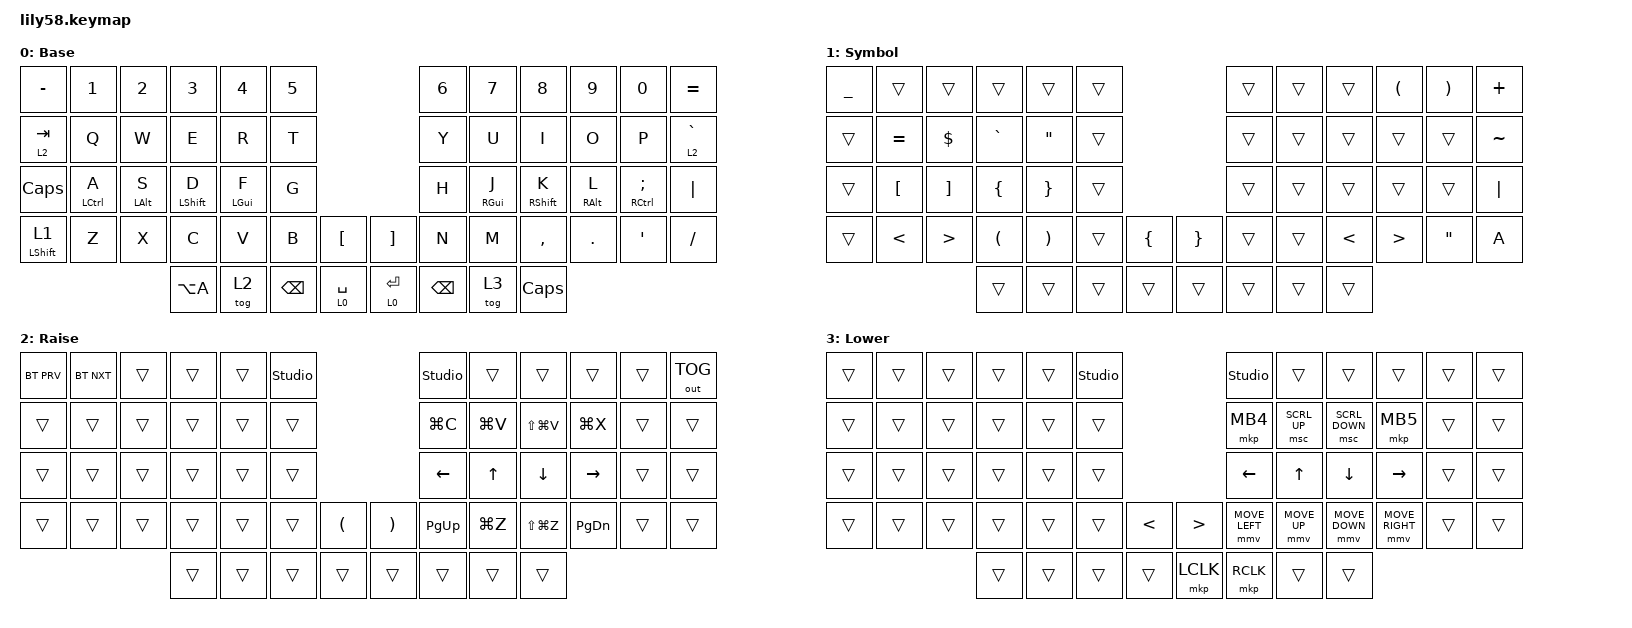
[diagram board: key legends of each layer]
/*
 * Copyright (c) 2020 The ZMK Contributors
 *
 * SPDX-License-Identifier: MIT
 */

#include <behaviors.dtsi>
#include <dt-bindings/zmk/keys.h>
#include <dt-bindings/zmk/bt.h>
#include <dt-bindings/zmk/ext_power.h>
#include <dt-bindings/zmk/outputs.h>
#include <dt-bindings/zmk/pointing.h>

/*
 * Key positions (used by hold-trigger-key-positions):
 *
 *   0   1   2   3   4   5               6   7   8   9  10  11
 *  12  13  14  15  16  17              18  19  20  21  22  23
 *  24  25  26  27  28  29              30  31  32  33  34  35
 *  36  37  38  39  40  41  42      43  44  45  46  47  48  49
 *              50  51  52  53      54  55  56  57
 *
 * Layers: 0 = Base, 1 = Symbol, 2 = Raise, 3 = Lower.
 */

/ {
    behaviors {
        /* Left-hand HRMs: hold triggers on right-hand keys (incl. inner key 43) and all thumbs. */
        hml: hml {
            compatible = "zmk,behavior-hold-tap";
            #binding-cells = <2>;
            flavor = "balanced";
            tapping-term-ms = <280>;
            quick-tap-ms = <175>;
            require-prior-idle-ms = <150>;
            bindings = <&kp>, <&kp>;
            hold-trigger-key-positions = <6 7 8 9 10 11 18 19 20 21 22 23 30 31 32 33 34 35 43 44 45 46 47 48 49 50 51 52 53 54 55 56 57>;
            hold-trigger-on-release;
        };

        /* Right-hand HRMs: hold triggers on left-hand keys (incl. inner key 42) and all thumbs. */
        hmr: hmr {
            compatible = "zmk,behavior-hold-tap";
            #binding-cells = <2>;
            flavor = "balanced";
            tapping-term-ms = <280>;
            quick-tap-ms = <175>;
            require-prior-idle-ms = <150>;
            bindings = <&kp>, <&kp>;
            hold-trigger-key-positions = <0 1 2 3 4 5 12 13 14 15 16 17 24 25 26 27 28 29 36 37 38 39 40 41 42 50 51 52 53 54 55 56 57>;
            hold-trigger-on-release;
        };

        /* Tap: send the key in the second param. Hold: switch to the layer in the first param (&to).
         * Usage: &layerORkp 0 SPACE  (tap = Space, hold = back to Base). */
        layerORkp: layerORkp {
            compatible = "zmk,behavior-hold-tap";
            #binding-cells = <2>;
            flavor = "tap-preferred";
            tapping-term-ms = <280>;
            bindings = <&to>, <&kp>;
        };

        /* Tap: sticky layer (next key only) from the second param. Hold: the modifier in the first param.
         * Usage: &shiftOrSym LSHFT 1  (tap = one key from Symbol, hold = Shift). */
        shiftOrSym: shiftOrSym {
            compatible = "zmk,behavior-hold-tap";
            #binding-cells = <2>;
            flavor = "hold-preferred";
            tapping-term-ms = <200>;
            bindings = <&kp>, <&sl>;
        };
    };

    keymap {
        compatible = "zmk,keymap";

        default_layer {
            display-name = "Base";
// ------------------------------------------------------------------------------------------------------------------------------------------------------------
// |    -     |    1     |    2     |    3     |    4     |    5     |                     |    6     |    7     |    8     |    9     |    0     |    =     |
// | TAB/RAI  |    Q     |    W     |    E     |    R     |    T     |                     |    Y     |    U     |    I     |    O     |    P     |  `/RAI   |
// |   CAPS   |  CTRL/A  |  ALT/S   |  SHFT/D  |  GUI/F   |    G     |                     |    H     |  GUI/J   |  SHFT/K  |  ALT/L   |  CTRL/;  |    |     |
// | SHFT/SYM |    Z     |    X     |    C     |    V     |    B     |    [     |    ]     |    N     |    M     |    ,     |    .     |    "     |    ?     |
//                                  |  LA(A)   | TOG RAI  |   BSPC   | SPC/BASE | RET/BASE |   BSPC   | TOG LOW  |CAPS WORD |
            bindings = <
&kp MINUS            &kp N1               &kp N2               &kp N3               &kp N4               &kp N5                                                         &kp N6               &kp N7               &kp N8               &kp N9               &kp N0               &kp EQUAL
&lt 2 TAB            &kp Q                &kp W                &kp E                &kp R                &kp T                                                          &kp Y                &kp U                &kp I                &kp O                &kp P                &lt 2 GRAVE
&kp CAPS             &hml LCTRL A         &hml LALT S          &hml LSHFT D         &hml LGUI F          &kp G                                                          &kp H                &hmr RGUI J          &hmr RSHFT K         &hmr RALT L          &hmr RCTRL SEMI      &kp PIPE
&shiftOrSym LSHFT 1  &kp Z                &kp X                &kp C                &kp V                &kp B                &kp LBKT             &kp RBKT             &kp N                &kp M                &kp COMMA            &kp DOT              &kp SQT              &kp FSLH
                                                               &kp LA(A)            &tog 2               &kp BSPC             &layerORkp 0 SPACE   &layerORkp 0 RET     &kp BSPC             &tog 3               &kp CAPS
            >;
        };

        symbol_layer {
            display-name = "Symbol";
// ------------------------------------------------------------------------------------------------------------------------------------------------------------
// |          |          |          |          |          |          |                     |          |          |          |          |          |          |
// |          |    =     |    $     |    `     |    "     |          |                     |          |          |          |          |          |          |
// |          |    [     |    ]     |    {     |    }     |          |                     |          |    '     |    /     |    \     |          |          |
// |          |    <     |    >     |    (     |    )     |          |          |          |          |          |          |          |          |          |
//                                  |          |          |          |          |          |          |          |          |
            bindings = <
&kp UNDER               &trans               &trans               &trans               &trans               &trans                                                         &trans               &trans               &trans               &kp LPAR               &kp RPAR               &kp PLUS
&trans               &kp EQUAL            &kp DLLR             &kp GRAVE            &kp DQT              &trans                                                         &trans               &trans               &trans               &trans               &trans               &kp TILDE
&trans               &kp LBKT             &kp RBKT             &kp LBRC             &kp RBRC             &trans                                                         &trans               &trans              &trans             &trans             &trans               &kp PIPE
&trans               &kp LT               &kp GT               &kp LPAR             &kp RPAR             &trans               &kp LBRC               &kp RBRC               &trans               &trans               &kp LT               &kp GT               &kp DQT               &kp A
                                                               &trans               &trans               &trans               &trans               &trans               &trans               &trans               &trans
            >;
        };

        raise_layer {
            display-name = "Raise";
// ------------------------------------------------------------------------------------------------------------------------------------------------------------
// |  BT PRV  |  BT NXT  |          |          |          |  unlock  |                     |  unlock  |          |          |          |          | OUT TOG  |
// |          |          |          |          |          |          |                     |          |          |          |          |          |          |
// |          |          |          |          |          |          |                     |   LEFT   |    UP    |   DOWN   |  RIGHT   |          |          |
// |          |          |          |          |          |          |    (     |    )     |          |          |          |          |          |          |
//                                  | SCRL DN  |          |          |   LCLK   |   RCLK   |          |          | SCRL UP  |
            bindings = <
&bt BT_PRV           &bt BT_NXT           &trans               &trans               &trans               &studio_unlock                                                 &studio_unlock       &trans               &trans               &trans               &trans               &out OUT_TOG
&trans               &trans               &trans               &trans               &trans               &trans                                                         &kp LG(C)               &kp LG(V)               &kp LS(LG(V))               &kp LG(X)               &trans               &trans
&trans               &trans               &trans               &trans               &trans               &trans                                                         &kp LEFT             &kp UP               &kp DOWN             &kp RIGHT            &trans               &trans
&trans               &trans               &trans               &trans               &trans               &trans               &kp LPAR             &kp RPAR             &kp PG_UP               &kp LG(Z)               &kp LS(LG(Z))               &kp PG_DN               &trans               &trans
                                                               &trans       &trans               &trans               &trans            &trans            &trans               &trans               &trans
            >;
        };

        lower_layer {
            display-name = "Lower";
// ------------------------------------------------------------------------------------------------------------------------------------------------------------
// |          |          |          |          |          |  unlock  |                     |  unlock  |          |          |          |          |          |
// |          |          |          |          |          |          |                     |          |          |          |          |          |          |
// |          |          |          |          |          |          |                     |   LEFT   |    UP    |   DOWN   |  RIGHT   |          |          |
// |          |          |          |          |          |          |    <     |    >     |          |          |          |          |          |          |
//                                  |   MB4    |          |          |   LCLK   |   RCLK   |          |          |   MB5    |
            bindings = <
&trans               &trans               &trans               &trans               &trans               &studio_unlock                                                 &studio_unlock       &trans               &trans               &trans               &trans               &trans
&trans               &trans               &trans               &trans               &trans               &trans                                                         &mkp MB4               &msc SCRL_UP               &msc SCRL_DOWN               &mkp MB5               &trans               &trans
&trans               &trans               &trans               &trans               &trans               &trans                                                         &kp LEFT             &kp UP               &kp DOWN             &kp RIGHT            &trans               &trans
&trans               &trans               &trans               &trans               &trans               &trans               &kp LT               &kp GT               &mmv MOVE_LEFT               &mmv MOVE_UP               &mmv MOVE_DOWN               &mmv MOVE_RIGHT               &trans               &trans
                                                               &trans             &trans               &trans               &trans            &mkp LCLK            &mkp RCLK               &trans               &trans
            >;
        };
    };
};
